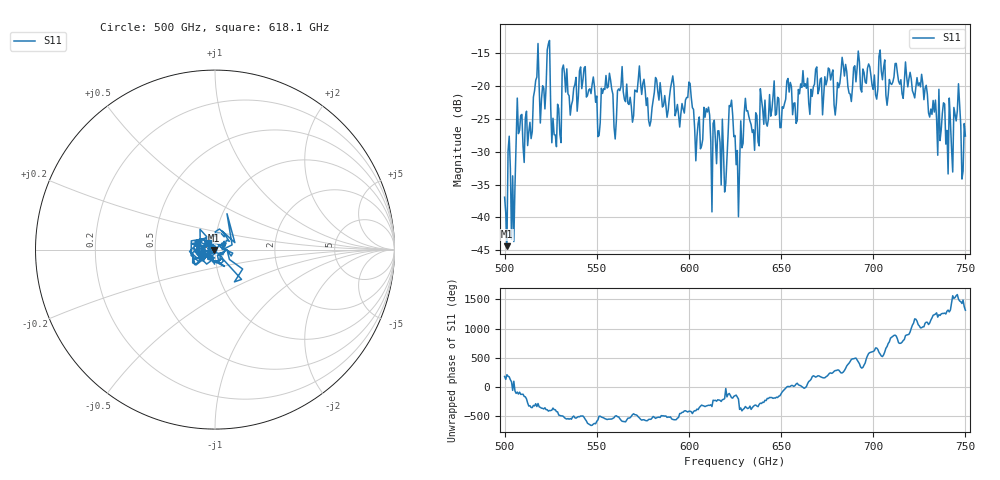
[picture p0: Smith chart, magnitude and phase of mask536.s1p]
!Created with skrf (http://scikit-rf.org).
# GHz S MA R 50.0
!freq magS11 angS11
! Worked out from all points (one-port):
!   401 points, 500 GHz to 750 GHz, reference 50 ohm
!   lowest |S11| = -44.4 dB at 501.2 GHz (marker M1), VSWR 1.01, Z = 49.5 - j0.272 ohm
!   |S11| at or under -10 dB: start of sweep to end of sweep
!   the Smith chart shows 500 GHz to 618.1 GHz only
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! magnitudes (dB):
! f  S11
! 500 GHz  -36.9
! 501.2 GHz  -44.4
! 504.4 GHz  -33.7
! 507.5 GHz  -27.2
! 513.8 GHz  -25.5
! 517.5 GHz  -18.6
! 520.6 GHz  -19.9
! 523.8 GHz  -13.6
! 526.9 GHz  -27.4
! 531.2 GHz  -17.4
! 542.5 GHz  -19.1
! 550.6 GHz  -27.7
! 562.5 GHz  -20.7
! 593.8 GHz  -22.8
! 609.4 GHz  -23.4
! 618.8 GHz  -30.0
! 622.5 GHz  -23.1
! 625 GHz  -27.5
! 626.2 GHz  -29.8
! 631.2 GHz  -23.8
! 636.9 GHz  -24.5
! 656.2 GHz  -24.4
! 676.9 GHz  -19.1
! 680 GHz  -22.6
! 684.4 GHz  -18.5
! 687.5 GHz  -21.2
! 718.8 GHz  -20.1
! 750 GHz  -27.6
